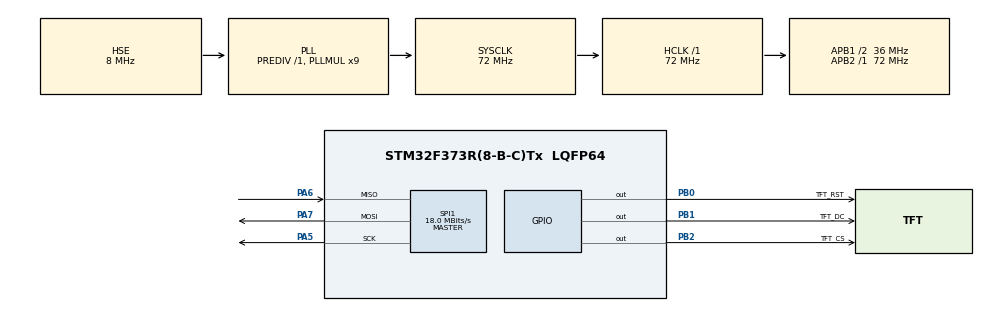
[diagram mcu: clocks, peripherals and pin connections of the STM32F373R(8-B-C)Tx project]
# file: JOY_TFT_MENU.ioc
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Mcu.Family=STM32F3
Mcu.Name=STM32F373R(8-B-C)Tx
Mcu.Package=LQFP64
NVIC.PriorityGroup=NVIC_PRIORITYGROUP_4
PA13.Mode=Serial_Wire
PA13.Signal=SYS_JTMS-SWDIO
PA14.Mode=Serial_Wire
PA14.Signal=SYS_JTCK-SWCLK
PA5.Mode=Full_Duplex_Master
PA5.Signal=SPI1_SCK
PA6.Mode=Full_Duplex_Master
PA6.Signal=SPI1_MISO
PA7.Mode=Full_Duplex_Master
PA7.Signal=SPI1_MOSI
PB0.GPIO_Label=TFT_RST
PB0.Signal=GPIO_Output
PB1.GPIO_Label=TFT_DC
PB1.Signal=GPIO_Output
PB2.GPIO_Label=TFT_CS
PB2.Signal=GPIO_Output
PF0-OSC_IN.Mode=HSE-External-Oscillator
PF0-OSC_IN.Signal=RCC_OSC_IN
PF1-OSC_OUT.Mode=HSE-External-Oscillator
PF1-OSC_OUT.Signal=RCC_OSC_OUT
ProjectManager.HeapSize=0x200
ProjectManager.StackSize=0x400
ProjectManager.TargetToolchain=STM32CubeIDE
RCC.AHBFreq_Value=72000000
RCC.APB1CLKDivider=RCC_HCLK_DIV2
RCC.APB1Freq_Value=36000000
RCC.APB1TimFreq_Value=72000000
RCC.APB2Freq_Value=72000000
RCC.APB2TimFreq_Value=72000000
RCC.CortexFreq_Value=72000000
RCC.HCLKFreq_Value=72000000
RCC.HSE_VALUE=8000000
RCC.HSI_VALUE=8000000
RCC.LSE_VALUE=32768
RCC.PLLMUL=RCC_PLL_MUL9
RCC.PLLSourceVirtual=RCC_PLLSOURCE_HSE
RCC.SYSCLKFreq_VALUE=72000000
RCC.SYSCLKSource=RCC_SYSCLKSOURCE_PLLCLK
RCC.USBFreq_Value=72000000
SPI1.BaudRatePrescaler=SPI_BAUDRATEPRESCALER_4
SPI1.CalculateBaudRate=18.0 MBits/s
SPI1.DataSize=SPI_DATASIZE_8BIT
SPI1.Direction=SPI_DIRECTION_2LINES
SPI1.Mode=SPI_MODE_MASTER
SPI1.VirtualType=VM_MASTER
board=custom

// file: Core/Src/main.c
/* USER CODE BEGIN Header */
/**
  ******************************************************************************
  * @file           : main.c
  * @brief          : Main program body
  ******************************************************************************
  * @attention
  *
  * Copyright (c) 2025 STMicroelectronics.
  * All rights reserved.
  *
  * This software is licensed under terms that can be found in the LICENSE file
  * in the root directory of this software component.
  * If no LICENSE file comes with this software, it is provided AS-IS.
  *
  ******************************************************************************
  */
/* USER CODE END Header */
#include "main.h"

/* USER CODE BEGIN Includes */

// Bu bölüme, projenize özel başlık dosyalarını (header files) dahil edebilirsiniz.
// Örneğin, "tft_driver.h" ve "menu.h" gibi kendi yazdığınız fonksiyonları burada eklersiniz.
// You can include your project-specific header files in this section.
// For example, custom files like "tft_driver.h" and "menu.h" should be added here.

#include "tft_driver.h"
#include "menu.h"

/* USER CODE END Includes */

/* USER CODE BEGIN PTD */

// Bu bölüme, programınız için özel veri tiplerini (struct, enum, union) tanımlayabilirsiniz.
// Bu, kodunuzu daha okunabilir ve düzenli hale getirmek için faydalıdır.
// In this section, you can define custom data types (struct, enum, union) for your program.
// This is useful for making your code more readable and organized.

/* USER CODE END PTD */

/* USER CODE BEGIN PD */

// Burada, projenize özel sabitleri (#define) veya makroları tanımlayabilirsiniz.
// Örneğin, TFT renkleri veya pin numaraları gibi değerleri burada belirleyebilirsiniz.
// Here you can define project-specific constants (#define) or macros.
// For example, you might define TFT colors or pin numbers here.

/* USER CODE END PD */

SPI_HandleTypeDef hspi1;

/* USER CODE BEGIN PV */

// Bu bölüme, tüm program boyunca erişebileceğiniz global değişkenleri tanımlayabilirsiniz.
// Örneğin, menü durumu veya sensör verileri gibi değişkenler buraya eklenebilir.
// In this section, you can declare global variables that are accessible throughout the program.
// For example, variables for menu state or sensor data can be added here.

/* USER CODE END PV */

void SystemClock_Config(void);
static void MX_GPIO_Init(void);
static void MX_SPI1_Init(void);

/* USER CODE BEGIN PFP */

// Projenizde kullandığınız yeni fonksiyonların prototiplerini (tanımlarını) buraya ekleyebilirsiniz.
// Bu, derleyicinin fonksiyonları tanıyabilmesini sağlar.
// You can add the prototypes (declarations) of new functions used in your project here.
// This allows the compiler to recognize your custom functions.

/* USER CODE END PFP */

/* USER CODE BEGIN 0 */

// Bu bölüm, main fonksiyonundan önce çalışacak kodlar veya özel başlatma işlemleri için kullanılabilir.
// This section can be used for code that runs before the main function or for special initialization routines.

/* USER CODE END 0 */

int main(void)
{

  /* USER CODE BEGIN 1 */

  // main fonksiyonunun en başında, HAL_Init() çağrılmadan önce çalışacak kodlar için kullanılır.
  // This section is used for code that should run at the very beginning of the main function,
  // before the HAL_Init() call.

  /* USER CODE END 1 */

  /* MCU Configuration--------------------------------------------------------*/

  /* Reset of all peripherals, Initializes the Flash interface and the Systick. */
  HAL_Init();

  /* USER CODE BEGIN Init */

  // HAL_Init() çağrıldıktan sonra, sistem saati yapılandırması öncesinde çalışacak kodlar için kullanılır.
  // Bu bölüm, genellikle donanım başlatma öncesi özel ayarlamalar için idealdir.
  // This section is for code that should run after HAL_Init() but before the system clock is configured.
  // It is ideal for special settings before hardware initialization.

  /* USER CODE END Init */

  /* Configure the system clock */
  SystemClock_Config();

  /* USER CODE BEGIN SysInit */

  // Sistem saati yapılandırıldıktan sonra, çevrebirim başlatma öncesinde çalışacak kodlar için kullanılır.
  // Bu bölüm, sisteme bağlı diğer başlatma işlemleri için uygundur.
  // This section is for code that runs after the system clock is configured but before peripheral initialization.
  // It is suitable for other system-level initialization tasks.

  /* USER CODE END SysInit */

  /* Initialize all configured peripherals */

  MX_GPIO_Init();
  MX_SPI1_Init();

  /* USER CODE BEGIN 2 */

  // Bu bölüme, çevrebirimler başlatıldıktan sonra, ana döngüye (while(1)) girmeden önce çalışacak kodları ekleyin.
  // Bu, uygulamanızın ilk başlangıç ekranını veya menüsünü hazırlamak için ideal bir yerdir.
  // Use this section for code that runs after all peripherals have been initialized, but before entering the main loop (while(1)).
  // This is the ideal place to prepare your application's first screen or menu.

 TFT_Init(&hspi1);

 TFT_FillScreen(TFT_COLOR_BLACK);  // Zemini temizle
  HAL_Delay(500);

  /***************************** kare renk test *****************************************/

  typedef struct { uint16_t x, y, s; uint16_t color; } Box;
  const Box boxes[] = {
      {  8,  10,  28, TFT_COLOR_RED      },  // küçük kırmızı kare
      { 50,  18,  40, TFT_COLOR_GREEN    },  // orta yeşil kare
      {100,  30,  56, TFT_COLOR_BLUE     },  // daha büyük mavi kare
      {170,  50,  34, TFT_COLOR_YELLOW   },  // sarı kare
      {220,  70,  44, TFT_COLOR_CYAN     },  // camgöbeği kare
      { 30, 120,  60, TFT_COLOR_MAGENTA  },  // eflatun kare
      {110, 120,  80, TFT_COLOR_ORANGE   }   // turuncu kare (en büyük)
  };

  for (uint32_t i = 0; i < (sizeof(boxes)/sizeof(boxes[0])); i++) {
      uint16_t W = TFT_GetWidth();
      uint16_t H = TFT_GetHeight();
      uint16_t x = boxes[i].x;
      uint16_t y = boxes[i].y;
      uint16_t s = boxes[i].s;

      // Ekranı taşmasın diye güvenlik (taşarsa kırp)
      if (x + s > W) s = (W > x) ? (W - x) : 0;
      if (y + s > H) s = (H > y) ? (H - y) : 0;
      if (s == 0) continue;

      // Dolu kare
      TFT_FillRect(x, y, s, s, boxes[i].color);

      // 1px beyaz çerçeve (varsa çizgi fonksiyonlarını kullanıyoruz)
      TFT_DrawHLine(x,       y,       s, TFT_COLOR_WHITE);
      TFT_DrawHLine(x,       y+s-1,   s, TFT_COLOR_WHITE);
      TFT_DrawVLine(x,       y,       s, TFT_COLOR_WHITE);
      TFT_DrawVLine(x+s-1,   y,       s, TFT_COLOR_WHITE);

      HAL_Delay(500);
  }

  HAL_Delay(2000);
  TFT_SetRotation(0);
  TFT_FillScreen(TFT_COLOR_BLACK);

  /********************************************************************************/

  /*************************** cizgi renk test ************************************/

  uint16_t W = TFT_GetWidth(), H = TFT_GetHeight();
  const uint16_t C[] = {
    TFT_COLOR_RED, TFT_COLOR_GREEN, TFT_COLOR_BLUE, TFT_COLOR_YELLOW,
    TFT_COLOR_CYAN, TFT_COLOR_MAGENTA, TFT_COLOR_ORANGE, TFT_COLOR_WHITE
  };
  const uint16_t CN = sizeof(C)/sizeof(C[0]);
  uint16_t step = 20;
  uint16_t thick = 3;

  TFT_FillRect(0, 0, W, H, TFT_COLOR_BLACK);

  /* YATAY */
  for (uint16_t y = 0; y < H; y += step) {
    TFT_FillRect(0, y, W, thick, C[(y/step)%CN]);
    HAL_Delay(100);
  }

  /* DİKEY */
  for (uint16_t x = 0; x < W; x += step) {
    TFT_FillRect(x, 0, thick, H, C[(x/step)%CN]);
    HAL_Delay(100);
  }

/*********************************************************************************************************/
  HAL_Delay(2000);

  TFT_SetRotation(0);
  TFT_FillScreen(TFT_COLOR_BLACK);
  TFT_SetRotation(1);

 Menu_Draw();  /* menu */

  /* USER CODE END 2 */

  /* Infinite loop */
  /* USER CODE BEGIN WHILE */

  // Bu ana döngü, programınızın kalbidir. Tekrarlayan tüm işler (sensör okuma, tuş kontrolü, ekran güncelleme vb.)
  // bu döngü içinde yer almalıdır.
  // This main loop is the heart of your program. All repetitive tasks (reading sensors, checking buttons,
  // updating the screen, etc.) should be placed inside this loop.

  while (1)
  {
    /* USER CODE END WHILE */

  }
  /* USER CODE END 3 */
}

void SystemClock_Config(void)
{
  RCC_OscInitTypeDef RCC_OscInitStruct = {0};
  RCC_ClkInitTypeDef RCC_ClkInitStruct = {0};

  /** Initializes the RCC Oscillators according to the specified parameters
  * in the RCC_OscInitTypeDef structure.
  */
  RCC_OscInitStruct.OscillatorType = RCC_OSCILLATORTYPE_HSE;
  RCC_OscInitStruct.HSEState = RCC_HSE_ON;
  RCC_OscInitStruct.HSEPredivValue = RCC_HSE_PREDIV_DIV1;
  RCC_OscInitStruct.HSIState = RCC_HSI_ON;
  RCC_OscInitStruct.PLL.PLLState = RCC_PLL_ON;
  RCC_OscInitStruct.PLL.PLLSource = RCC_PLLSOURCE_HSE;
  RCC_OscInitStruct.PLL.PLLMUL = RCC_PLL_MUL9;
  if (HAL_RCC_OscConfig(&RCC_OscInitStruct) != HAL_OK)
  {
    Error_Handler();
  }

  /** Initializes the CPU, AHB and APB buses clocks
  */
  RCC_ClkInitStruct.ClockType = RCC_CLOCKTYPE_HCLK|RCC_CLOCKTYPE_SYSCLK
                              |RCC_CLOCKTYPE_PCLK1|RCC_CLOCKTYPE_PCLK2;
  RCC_ClkInitStruct.SYSCLKSource = RCC_SYSCLKSOURCE_PLLCLK;
  RCC_ClkInitStruct.AHBCLKDivider = RCC_SYSCLK_DIV1;
  RCC_ClkInitStruct.APB1CLKDivider = RCC_HCLK_DIV2;
  RCC_ClkInitStruct.APB2CLKDivider = RCC_HCLK_DIV1;

  if (HAL_RCC_ClockConfig(&RCC_ClkInitStruct, FLASH_LATENCY_2) != HAL_OK)
  {
    Error_Handler();
  }
}

static void MX_SPI1_Init(void)
{

  /* USER CODE BEGIN SPI1_Init 0 */

  // Bu bölüme, SPI1 başlatma kodundan önce özel ayarlar ekleyebilirsiniz.
  // In this section, you can add specific settings before the SPI1 initialization code.

  /* USER CODE END SPI1_Init 0 */

  /* USER CODE BEGIN SPI1_Init 1 */

  // SPI1 başlatma yapılandırmasının hemen öncesinde çalışacak kodlar için kullanılır.
  // Bu, HAL_SPI_Init() çağrısından önce özel ön koşulları kontrol etmek için idealdir.
  // This is used for code that runs just before the SPI1 initialization configuration.
  // It's ideal for checking specific preconditions before the HAL_SPI_Init() call.

  /* USER CODE END SPI1_Init 1 */

  /* SPI1 parameter configuration*/

  hspi1.Instance = SPI1;
  hspi1.Init.Mode = SPI_MODE_MASTER;
  hspi1.Init.Direction = SPI_DIRECTION_2LINES;
  hspi1.Init.DataSize = SPI_DATASIZE_8BIT;
  hspi1.Init.CLKPolarity = SPI_POLARITY_LOW;
  hspi1.Init.CLKPhase = SPI_PHASE_1EDGE;
  hspi1.Init.NSS = SPI_NSS_SOFT;
  hspi1.Init.BaudRatePrescaler = SPI_BAUDRATEPRESCALER_4;
  hspi1.Init.FirstBit = SPI_FIRSTBIT_MSB;
  hspi1.Init.TIMode = SPI_TIMODE_DISABLE;
  hspi1.Init.CRCCalculation = SPI_CRCCALCULATION_DISABLE;
  hspi1.Init.CRCPolynomial = 7;
  hspi1.Init.CRCLength = SPI_CRC_LENGTH_DATASIZE;
  hspi1.Init.NSSPMode = SPI_NSS_PULSE_ENABLE;
  if (HAL_SPI_Init(&hspi1) != HAL_OK)
  {
    Error_Handler();
  }
  /* USER CODE BEGIN SPI1_Init 2 */

  // Bu bölüme, SPI1 başlatıldıktan sonra çalışacak özel ayarlar veya kontroller ekleyebilirsiniz.
  // Örneğin, bir çevre biriminin hazır olup olmadığını kontrol etmek gibi.
  // In this section, you can add special settings or checks that run after SPI1 has been initialized.
  // For example, checking if a peripheral is ready.

  /* USER CODE END SPI1_Init 2 */

}

static void MX_GPIO_Init(void)
{
  GPIO_InitTypeDef GPIO_InitStruct = {0};
  /* USER CODE BEGIN MX_GPIO_Init_1 */

  // Bu bölüm, GPIO başlatma kodunun öncesinde özel pin ayarlamaları için kullanılır.
  // This section is used for custom pin settings before the GPIO initialization code.

  /* USER CODE END MX_GPIO_Init_1 */

  /* GPIO Ports Clock Enable */
  __HAL_RCC_GPIOF_CLK_ENABLE();
  __HAL_RCC_GPIOA_CLK_ENABLE();
  __HAL_RCC_GPIOB_CLK_ENABLE();

  /*Configure GPIO pin Output Level */

  HAL_GPIO_WritePin(GPIOB, TFT_RST_Pin|TFT_DC_Pin|TFT_CS_Pin, GPIO_PIN_RESET);

  /*Configure GPIO pins : TFT_RST_Pin TFT_DC_Pin TFT_CS_Pin */

  GPIO_InitStruct.Pin = TFT_RST_Pin|TFT_DC_Pin|TFT_CS_Pin;
  GPIO_InitStruct.Mode = GPIO_MODE_OUTPUT_PP;
  GPIO_InitStruct.Pull = GPIO_NOPULL;
  GPIO_InitStruct.Speed = GPIO_SPEED_FREQ_LOW;
  HAL_GPIO_Init(GPIOB, &GPIO_InitStruct);

  /* USER CODE BEGIN MX_GPIO_Init_2 */

  // Bu bölüme, GPIO pinleri başlatıldıktan sonra ek ayarlar veya pin durumu kontrolleri ekleyebilirsiniz.
  // In this section, you can add extra settings or pin state checks after the GPIO pins have been initialized.

  /* USER CODE END MX_GPIO_Init_2 */
}

/* USER CODE BEGIN 4 */

// Bu bölüme, projenize özel fonksiyonları (örneğin, interrupt servis rutinleri) ekleyebilirsiniz.
// Bu fonksiyonlar, diğer bölümlerdeki fonksiyonlar gibi otomatik olarak silinmez.
// In this section, you can add custom functions for your project (e.g., interrupt service routines).
// These functions will not be automatically deleted like those in other sections.

/* USER CODE END 4 */

void Error_Handler(void)
{
  __disable_irq();
  while (1)
  {
  }
}
